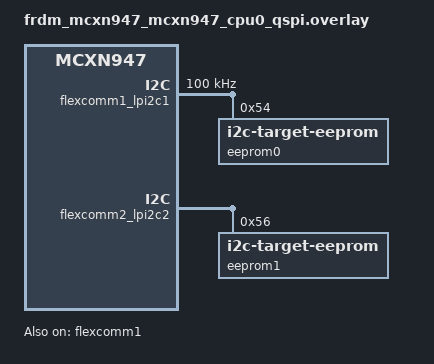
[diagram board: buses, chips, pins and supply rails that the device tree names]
/*
 * Copyright 2024-2025 NXP
 *
 * SPDX-License-Identifier: Apache-2.0
 */
&pinctrl {
	pinmux_flexcomm1_lpi2c: pinmux_flexcomm1_lpi2c {
		group0 {
			pinmux = <FC1_P0_PIO0_24>,
				<FC1_P1_PIO0_25>;
			slew-rate = "fast";
			drive-strength = "low";
			input-enable;
			bias-pull-up;
			drive-open-drain;
		};
	};
};

&flexcomm1 {
	status = "okay";
};

/* We cannot enable SPI and I2C on the same flexcomm */
&flexcomm1_lpspi1 {
	status = "disabled";
};

/* To test this sample, connect
 * LPI2C1 SCL(J2-12, P0_25/FC1_P1)    -->        LPI2C2 SCL(J2-20, P4_1/FC2_P1)
 * LPI2C1 SDA(J2-8, P0_24/FC1_P0)     -->        LPI2C2 SDA(J2-18, P4_0/FC2_P0)
 */
&flexcomm1_lpi2c1 {
	pinctrl-0 = <&pinmux_flexcomm1_lpi2c>;
	pinctrl-names = "default";
	clock-frequency = <I2C_BITRATE_STANDARD>;
	status = "okay";
	eeprom0: eeprom@54 {
		compatible = "zephyr,i2c-target-eeprom";
		reg = <0x54>;
		size = <1024>;
	};
};

&flexcomm2_lpi2c2 {
	eeprom1: eeprom@56 {
		compatible = "zephyr,i2c-target-eeprom";
		reg = <0x56>;
		size = <1024>;
	};
};
